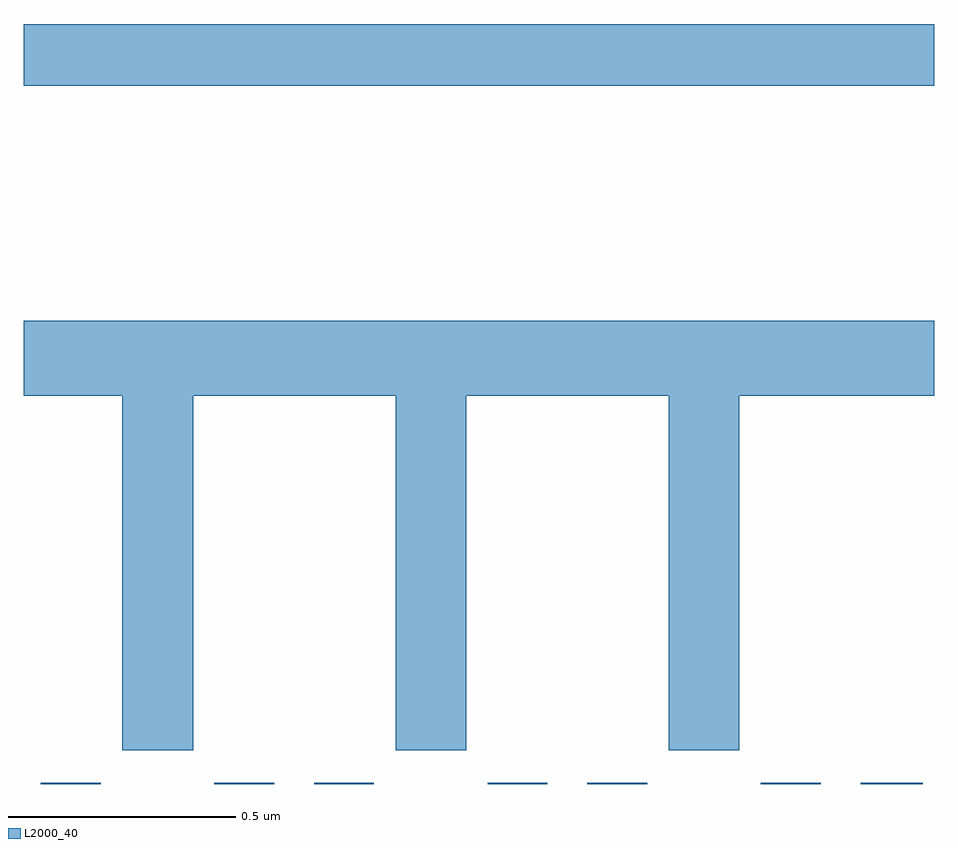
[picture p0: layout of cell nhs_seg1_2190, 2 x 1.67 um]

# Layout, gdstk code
import gdstk
lib = gdstk.Library(unit=1e-6, precision=1e-09)
def R(c, l, rs):  # rectangles x0, y0, x1, y1
    for r in rs: c.add(gdstk.rectangle(r[:2], r[2:], *l))
def P(c, l, *ps):  # polygons
    for p in ps: c.add(gdstk.Polygon(p, *l))
L2000_40 = (2000, 40)

nhs_seg1_2190 = lib.new_cell('nhs_seg1_2190')
R(nhs_seg1_2190, L2000_40, [(138.038,564.199,138.169,564.202), (138.419,564.199,138.55,564.202), (138.638,564.199,138.769,564.202), (139.019,564.199,139.15,564.202), (139.238,564.199,139.369,564.202), (139.619,564.199,139.75,564.202), (139.838,564.199,139.975,564.202), (138,565.732,140,565.868)])
P(nhs_seg1_2190, L2000_40, [(138.372,565.052),(138.817,565.052),(138.817,564.273),(138.972,564.273),(138.972,565.052),(139.417,565.052),(139.417,564.273),(139.572,564.273),(139.572,565.052),(140,565.052),(140,565.216),(138,565.216),(138,565.052),(138.217,565.052),(138.217,564.273),(138.372,564.273)])

lib.write_gds('nhs_seg1_2190.gds')
